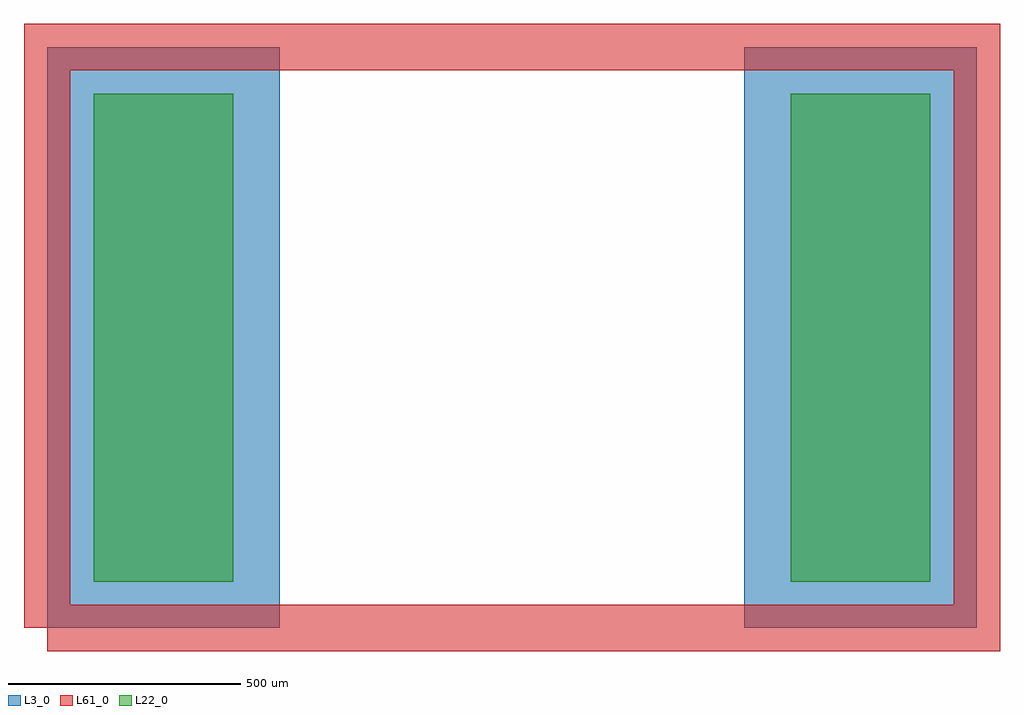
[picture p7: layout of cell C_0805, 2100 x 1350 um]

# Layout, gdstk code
import gdstk
lib = gdstk.Library(unit=1e-6, precision=1e-09)
def R(c, l, rs):  # rectangles x0, y0, x1, y1
    for r in rs: c.add(gdstk.rectangle(r[:2], r[2:], *l))
L3_0 = (3, 0)
L22_0 = (22, 0)
L61_0 = (61, 0)

c_0805 = lib.new_cell('C_0805')
R(c_0805, L3_0, [(-1000,-625,-500,625), (500,-625,1000,625)])
R(c_0805, L22_0, [(-900,-525,-600,525), (600,-525,900,525)])
c_0805.add(gdstk.FlexPath([(-1000,-625),(1000,-625),(1000,625),(-1000,625),(-1000,-625)], 100, ends="flush", simple_path=True, layer=61, datatype=0))  # L61_0

lib.write_gds('C_0805.gds')
